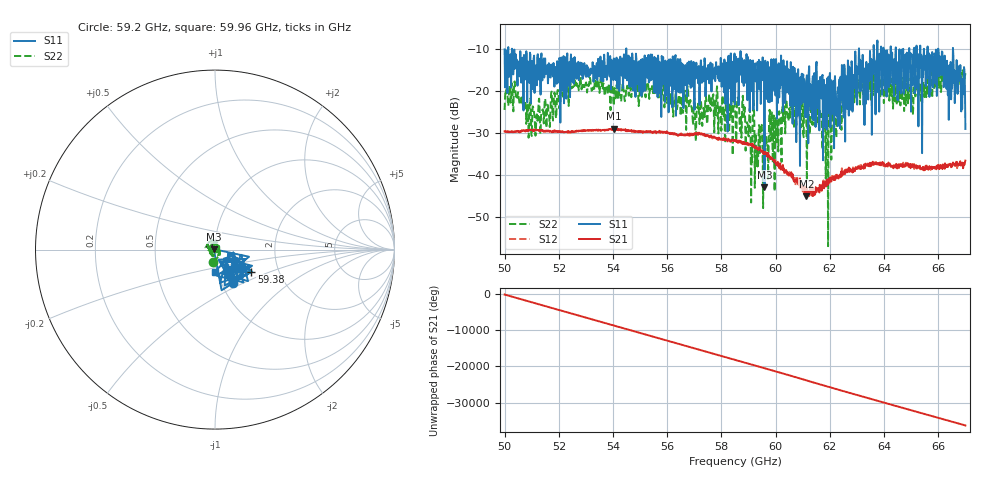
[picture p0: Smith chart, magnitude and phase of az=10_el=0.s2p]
!Created with skrf (http://scikit-rf.org).
# GHz S RI R 50.0
!freq ReS11 ImS11 ReS21 ImS21 ReS12 ImS12 ReS22 ImS22
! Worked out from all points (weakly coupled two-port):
!   1001 points, 50 GHz to 67 GHz, reference 50 ohm
!   highest |S21| = -28.93 dB at 54.05 GHz (marker M1); lowest = -45.0 dB at 61.14 GHz (marker M2)
!   lowest |S11| = -42.9 dB at 59.59 GHz (marker M3), VSWR 1.01, Z = 49.3 + j0.225 ohm
!   |S11| at or under -10 dB: 50.27 GHz to 54.49 GHz (4.215 GHz wide, 8.05 % of centre); 54.49 GHz to 63.07 GHz (8.583 GHz wide, 14.6 % of centre); 63.07 GHz to 63.61 GHz (539.8 MHz wide, 0.852 % of centre) (the widest 3 of 21)
!   |S22| runs from -56.9 to -14.1 dB; largest |S21 - S12| = 0.0025
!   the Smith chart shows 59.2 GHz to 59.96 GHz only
!   S11 on the Smith chart (normalised r, x): 59.2 GHz: 1.13, -0.45; 59.38 GHz: 1.45, -0.38; 59.96 GHz: 0.97, -0.24
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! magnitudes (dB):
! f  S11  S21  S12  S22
! 50 GHz  -10.0  -29.5  -29.5  -24.4
! 50.42 GHz  -13.8  -29.5  -29.5  -21.7
! 51.07 GHz  -12.2  -29.2  -29.1  -24.2
! 52.84 GHz  -14.0  -29.5  -29.4  -19.5
! 54.05 GHz  -12.5  -28.9  -29.0  -20.0
! 55.68 GHz  -13.2  -29.6  -29.7  -22.0
! 58.5 GHz  -23.1  -31.7  -31.8  -24.4
! 59.2 GHz  -13.4  -33.0  -33.0  -23.0
! 59.38 GHz  -12.5  -33.8  -33.8  -28.0
! 59.59 GHz  -42.9  -34.6  -34.4  -29.8
! 59.84 GHz  -12.4  -35.8  -36.0  -25.0
! 59.96 GHz  -18.2  -36.7  -36.6  -43.9
! 60.64 GHz  -14.1  -40.5  -40.3  -22.1
! 61.14 GHz  -17.2  -45.0  -44.1  -28.5
! 61.34 GHz  -26.3  -42.7  -43.0  -25.1
! 62 GHz  -15.6  -40.6  -41.5  -24.9
! 62.6 GHz  -19.6  -39.0  -38.8  -19.1
! 64.18 GHz  -19.0  -37.6  -37.7  -18.6
! 66.08 GHz  -15.7  -37.6  -37.7  -15.5
! 66.42 GHz  -15.6  -37.5  -37.4  -16.4
! 66.75 GHz  -17.6  -37.7  -37.6  -18.2
! 67 GHz  -29.0  -36.5  -37.6  -15.7
